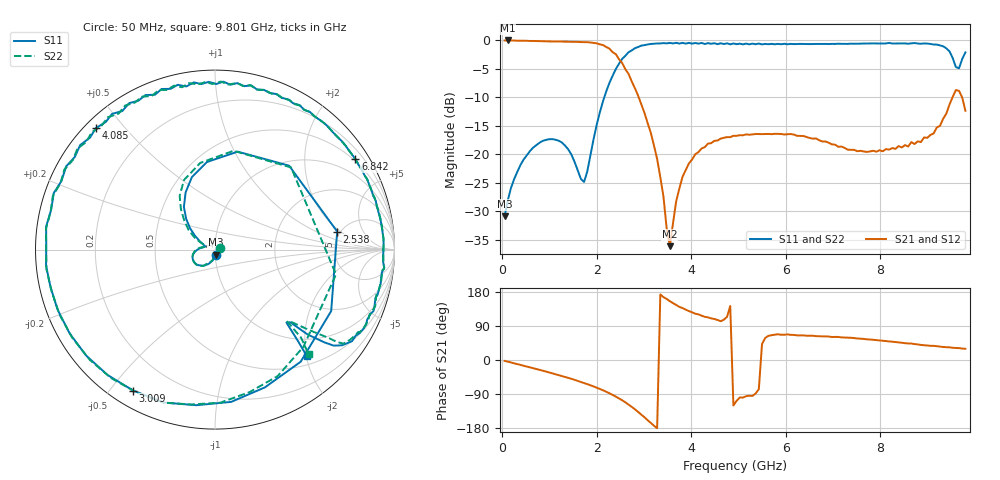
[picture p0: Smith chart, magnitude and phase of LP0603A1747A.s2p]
!	AVX THIN FILM OPERATION
!	LP0603 LOW PASS FILTERS
!	P/N LP0603A1747ALTR
!	Network	Analyzer	HP8720ES.07.64:	Feb	"23,"	2000	Serial	No.	US39172382
!	Hewlett-Packard
!	2	Feb	2004	02:33:11
!	Frequency	S11	S21	S12	S22
#	HZ	S	DB	R	50
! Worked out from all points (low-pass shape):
!   146 points, 50 MHz to 9.801 GHz, reference 50 ohm
!   highest |S21| = -0.02 dB at 117.2 MHz (marker M1); lowest = -36.1 dB at 3.547 GHz (marker M2)
!   |S21| within 3 dB of the highest: start of sweep to 2.449 GHz
!   lowest |S11| = -30.9 dB at 50 MHz (marker M3), VSWR 1.06, Z = 50.4 - j2.85 ohm
!   |S11| at or under -10 dB: start of sweep to 2.159 GHz
!   |S22| runs from -30.9 to -0.4 dB; largest |S21 - S12| = 0.073
!   S11 on the Smith chart (normalised r, x): 50 MHz: 1.01, -0.06; 2.538 GHz: 4.70, +1.80; 3.009 GHz: 0.06, -0.57; 4.085 GHz: 0.03, +0.42; 6.842 GHz: 0.45, +3.35; 9.801 GHz: 0.65, -2.01
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5e7  -30.86 -80.7  -0.03 -2.3  -0.03 -2.4  -30.86 14.8
1.1725e8  -28.08 -90.6  -0.02 -4.3  -0.02 -4.4  -28.08 -95.9
9.2425e8  -17.47 -145.1  -0.16 -30.4  -0.16 -30.7  -17.47 -142.1
1.73125e9  -24.85 161.4  -0.31 -60.6  -0.31 -60.6  -24.85 160.6
2.202e9  -8.92 117.2  -1.17 -83.9  -1.17 -84.2  -8.92 123.4
2.40375e9  -5.03 76.9  -2.43 -96.6  -2.43 -96.7  -5.03 79.4
2.471e9  -4.10 48.6  -3.31 -101.3  -3.31 -101.8  -4.10 47.2
2.53825e9  -3.25 8.4  -3.98 -106.3  -3.98 -106.9  -3.25 -11.6
2.74e9  -1.76 -70.1  -7.20 -123.7  -7.20 -123.0  -1.76 -76.2
3.009e9  -0.84 -120.2  -12.71 -151.1  -12.71 -154.3  -0.84 -118.7
3.34525e9  -0.54 -167.3  -24.02 173.1  -24.02 168.4  -0.54 -165.8
3.547e9  -0.45 172.2  -36.11 155.1  -36.11 150.8  -0.45 172.9
3.816e9  -0.44 150.8  -23.92 137.0  -23.92 140.1  -0.44 152.1
4.085e9  -0.46 134.4  -19.98 122.1  -19.98 124.2  -0.46 136.4
4.7575e9  -0.52 102.7  -16.97 113.8  -16.97 111.6  -0.52 104.0
4.95925e9  -0.67 94.7  -16.76 -107.8  -16.76 -108.1  -0.67 95.9
6.57325e9  -0.64 40.6  -17.26 64.0  -17.26 58.1  -0.64 40.4
6.84225e9  -0.63 32.8  -17.74 62.3  -17.74 57.6  -0.63 31.8
8.18725e9  -0.46 -6.0  -19.18 49.0  -19.18 46.9  -0.46 -6.4
9.196e9  -0.74 -33.8  -15.28 36.3  -15.28 35.0  -0.74 -31.0
9.5995e9  -4.68 -44.0  -8.72 31.6  -8.72 31.0  -4.68 -43.6
9.80125e9  -2.12 -49.2  -12.34 29.6  -12.34 29.6  -2.12 -48.2
